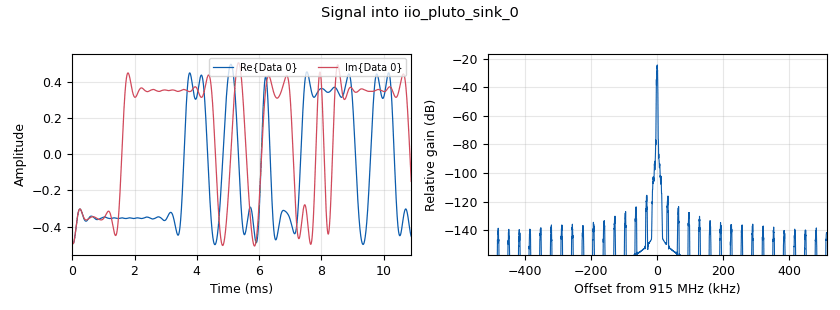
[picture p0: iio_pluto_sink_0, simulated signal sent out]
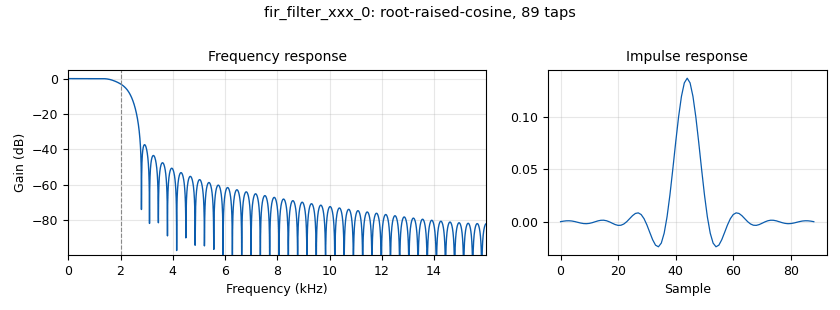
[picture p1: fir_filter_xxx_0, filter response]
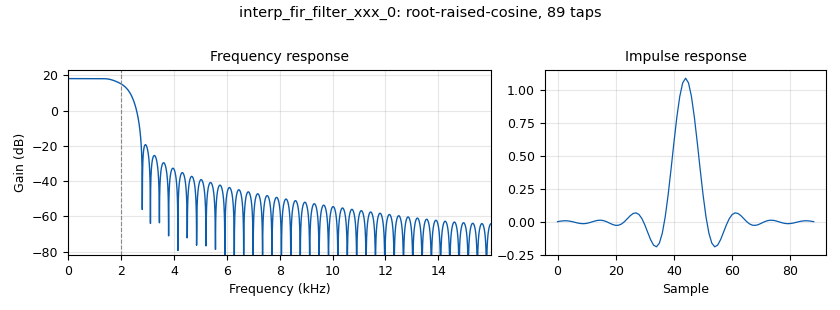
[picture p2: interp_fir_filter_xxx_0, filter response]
options:
  parameters:
    author: ECE 448
    description: 'L15 Lab: the L15 mPSK text link through one PlutoSDR at 915 MHz, from its TX port to its RX port through a cable and an inline 30 dB attenuator. Never connect an antenna, and never set TX attenuation below 30 dB.'
    generate_options: qt_gui
    id: L15_psk_pluto
    output_language: python
    title: L15 - mPSK Link on a PlutoSDR
  states: {}

blocks:
- name: M
  id: variable
  parameters:
    comment: 2, 4, or 8; run again after changing it
    value: '4'
  states: {}
- name: alpha
  id: variable
  parameters:
    value: '0.35'
  states: {}
- name: const
  id: variable
  parameters:
    value: digital.constellation_calcdist(pts, list(range(M)), M, 1).base()
  states: {}
- name: costas_bw
  id: variable
  parameters:
    value: '0.02'
  states: {}
- name: diff
  id: variable_qtgui_chooser
  parameters:
    gui_hint: 0,2,1,1
    label: Differential coding
    label0: 'On'
    label1: 'Off'
    num_opts: '2'
    option0: '1'
    option1: '0'
    orient: Qt.QHBoxLayout
    type: int
    value: '1'
    widget: radio_buttons
  states: {}
- name: fc
  id: variable
  parameters:
    value: 915e6
  states: {}
- name: gray
  id: variable
  parameters:
    value: '[i ^ (i >> 1) for i in range(M)]'
  states: {}
- name: hdr
  id: variable
  parameters:
    value: digital.header_format_default(digital.packet_utils.default_access_code, 0)
  states: {}
- name: k
  id: variable
  parameters:
    value: int(math.log2(M))
  states: {}
- name: msg
  id: variable
  parameters:
    value: '''USAFA ECE 448: ASCII over mPSK.'''
  states: {}
- name: pts
  id: variable
  parameters:
    value: '[cmath.exp(1j*((0 if M == 2 else math.pi/M) + 2*math.pi*i/M)) for i in range(M)]'
  states: {}
- name: radio_rate
  id: variable
  parameters:
    value: samp_rate*32
  states: {}
- name: rx_gain
  id: variable_qtgui_range
  parameters:
    gui_hint: 0,1,1,1
    label: Pluto RX gain (dB)
    start: '0'
    step: '1'
    stop: '70'
    value: '40'
  states: {}
- name: rx_label
  id: variable_qtgui_label
  parameters:
    formatter: 'lambda x: '':  '' + x'
    gui_hint: 3,0,1,3
    label: Received
    type: string
    value: rx_text
  states: {}
- name: rx_stats
  id: variable_function_probe
  parameters:
    block_id: epy_block_0
    function_name: stats
    poll_rate: '2'
    value: ''''''
  states: {}
- name: rx_taps
  id: variable
  parameters:
    value: firdes.root_raised_cosine(1.0, samp_rate, samp_rate/sps, alpha, 11*sps)
  states: {}
- name: rx_text
  id: variable_function_probe
  parameters:
    block_id: epy_block_0
    function_name: last_line
    poll_rate: '4'
    value: '''(waiting for a packet)'''
  states: {}
- name: samp_rate
  id: variable
  parameters:
    value: '32000'
  states: {}
- name: sps
  id: variable
  parameters:
    value: '8'
  states: {}
- name: stats_label
  id: variable_qtgui_label
  parameters:
    formatter: 'lambda x: '':  '' + x'
    gui_hint: 4,0,1,3
    label: Lines
    type: string
    value: rx_stats
  states: {}
- name: tx_atten
  id: variable_qtgui_range
  parameters:
    gui_hint: 0,0,1,1
    label: Pluto TX attenuation (dB)
    start: '30'
    step: '1'
    stop: '89'
    value: '60'
  states: {}
- name: tx_taps
  id: variable
  parameters:
    value: firdes.root_raised_cosine(sps, samp_rate, samp_rate/sps, alpha, 11*sps)
  states: {}
- name: ungray
  id: variable
  parameters:
    value: '[gray.index(b) for b in range(M)]'
  states: {}
- name: analog_agc3_xx_0
  id: analog_agc3_xx
  parameters:
    attack_rate: '1e-3'
    comment: Holds the received level near amplitude 1 at any attenuation
    decay_rate: '1e-4'
    gain: '1.0'
    iir_update_decim: '1'
    max_gain: '65536'
    reference: '1.0'
    type: complex
  states: {}
- name: blocks_keep_one_in_n_0
  id: blocks_keep_one_in_n
  parameters:
    n: '40'
    type: float
  states: {}
- name: blocks_multiply_const_vxx_0
  id: blocks_multiply_const_vxx
  parameters:
    comment: rad/symbol to Hz
    const: samp_rate/sps/(2*math.pi)
    type: float
  states: {}
- name: blocks_multiply_const_vxx_1
  id: blocks_multiply_const_vxx
  parameters:
    comment: Keeps the peaks below full scale
    const: '0.5'
    type: complex
  states: {}
- name: blocks_repack_bits_bb_0
  id: blocks_repack_bits_bb
  parameters:
    endianness: gr.GR_MSB_FIRST
    k: '8'
    l: k
  states: {}
- name: blocks_repack_bits_bb_1
  id: blocks_repack_bits_bb
  parameters:
    endianness: gr.GR_MSB_FIRST
    k: k
    l: '1'
  states: {}
- name: blocks_repack_bits_bb_2
  id: blocks_repack_bits_bb
  parameters:
    align_output: 'True'
    endianness: gr.GR_MSB_FIRST
    k: '1'
    l: '8'
    len_tag_key: '"packet_len"'
  states: {}
- name: blocks_selector_0
  id: blocks_selector
  parameters:
    enabled: 'True'
    input_index: diff
    num_inputs: '2'
    num_outputs: '1'
    output_index: '0'
    type: byte
  states: {}
- name: blocks_selector_1
  id: blocks_selector
  parameters:
    enabled: 'True'
    input_index: diff
    num_inputs: '2'
    num_outputs: '1'
    output_index: '0'
    type: byte
  states: {}
- name: blocks_stream_to_tagged_stream_0
  id: blocks_stream_to_tagged_stream
  parameters:
    len_tag_key: '"packet_len"'
    packet_len: len(msg) + 1
    type: byte
  states: {}
- name: blocks_tagged_stream_mux_0
  id: blocks_tagged_stream_mux
  parameters:
    lengthtagname: '"packet_len"'
    ninputs: '2'
    type: byte
  states: {}
- name: blocks_vector_source_x_0
  id: blocks_vector_source_x
  parameters:
    repeat: 'True'
    type: byte
    vector: list(msg.encode()) + [10]
  states: {}
- name: digital_chunks_to_symbols_xx_0
  id: digital_chunks_to_symbols_xx
  parameters:
    dimension: '1'
    in_type: byte
    out_type: complex
    symbol_table: pts
  states: {}
- name: digital_constellation_decoder_cb_0
  id: digital_constellation_decoder_cb
  parameters:
    constellation: const
  states: {}
- name: digital_correlate_access_code_xx_ts_0
  id: digital_correlate_access_code_xx_ts
  parameters:
    access_code: digital.packet_utils.default_access_code
    tagname: '"packet_len"'
    threshold: '2'
    type: byte
  states: {}
- name: digital_costas_loop_cc_0
  id: digital_costas_loop_cc
  parameters:
    order: M
    w: costas_bw
  states: {}
- name: digital_diff_decoder_bb_0
  id: digital_diff_decoder_bb
  parameters:
    coding: digital.DIFF_DIFFERENTIAL
    modulus: M
  states: {}
- name: digital_diff_encoder_bb_0
  id: digital_diff_encoder_bb
  parameters:
    coding: digital.DIFF_DIFFERENTIAL
    modulus: M
  states: {}
- name: digital_map_bb_0
  id: digital_map_bb
  parameters:
    map: ungray
  states: {}
- name: digital_map_bb_1
  id: digital_map_bb
  parameters:
    map: gray
  states: {}
- name: digital_protocol_formatter_bb_0
  id: digital_protocol_formatter_bb
  parameters:
    format: hdr
    len_tag_key: '"packet_len"'
  states: {}
- name: digital_symbol_sync_xx_0
  id: digital_symbol_sync_xx
  parameters:
    damping: '1.0'
    loop_bw: '0.045'
    max_dev: '1.5'
    osps: '1'
    resamp_type: digital.IR_MMSE_8TAP
    sps: sps
    ted_gain: '1.0'
    ted_type: digital.TED_GARDNER
    type: cc
  states: {}
- name: epy_block_0
  id: epy_block
  parameters:
    _source_code: |
      """Text Sink: shows each received packet as a line of text, counts the lines
      that match the transmitted message, and counts the bit errors in every line
      of the right length (the BER). The counts restart whenever a slider moves,
      because GRC sets `settings` each time one of the settings it names changes.
      Function Probes read last_line() and stats() for the QT GUI Labels."""

      import time

      import numpy as np
      import pmt
      from gnuradio import gr


      class blk(gr.sync_block):
          def __init__(self, expected='', settings=None):
              gr.sync_block.__init__(self, name='Text Sink', in_sig=[np.uint8], out_sig=None)
              self.expected = expected
              self.ref = np.frombuffer((expected + '\n').encode(), dtype=np.uint8)
              self.key = pmt.intern('packet_len')
              self.buf = []
              self.line = '(waiting for a packet)'
              self.settings = settings

          @property
          def settings(self):
              return self._settings

          @settings.setter
          def settings(self, value):
              self._settings = value
              self.good = 0
              self.total = 0
              self.errors = 0
              self.bits = 0
              self.t0 = time.monotonic()

          def work(self, input_items, output_items):
              data = input_items[0]
              start = self.nitems_read(0)
              # Each packet starts with a packet_len tag, so a corrupted newline
              # cannot run two packets together.
              marks = {t.offset - start for t in self.get_tags_in_window(0, 0, len(data), self.key)}
              for i, b in enumerate(data):
                  if i in marks and self.buf:
                      self.finish()
                  self.buf.append(int(b))
              return len(data)

          def finish(self):
              rx = np.array(self.buf, dtype=np.uint8)
              text = ''.join(chr(b) if 32 <= b < 127 or b == 10 else '?' for b in rx)
              self.line = text[:-1] if text.endswith('\n') else text
              self.total += 1
              self.good += text == self.expected + '\n'
              if len(rx) == len(self.ref):
                  self.errors += int(np.unpackbits(rx ^ self.ref).sum())
                  self.bits += 8 * len(rx)
              self.buf = []

          def last_line(self):
              return self.line

          def stats(self):
              ber = f'{self.errors / self.bits:.1e}' if self.bits else '-'
              return (f'{self.good} correct of {self.total} received in {time.monotonic() - self.t0:.0f} s;  '
                      f'BER {ber} ({self.errors} errors in {self.bits} bits)')
    expected: msg
    settings: (tx_atten, rx_gain, diff)
  states: {}
- name: fir_filter_xxx_0
  id: fir_filter_xxx
  parameters:
    decim: '1'
    taps: rx_taps
    type: ccf
  states: {}
- name: iio_pluto_sink_0
  id: iio_pluto_sink
  parameters:
    attenuation1: tx_atten
    bandwidth: '200000'
    buffer_size: '32768'
    cyclic: 'False'
    filter: '""'
    filter_source: '''Auto'''
    frequency: int(fc)
    len_tag_key: '""'
    samplerate: int(radio_rate)
    type: fc32
    uri: '"ip:192.168.2.1"'
  states: {}
- name: iio_pluto_source_0
  id: iio_pluto_source
  parameters:
    bandwidth: '200000'
    bbdc: 'True'
    buffer_size: '32768'
    filter: '""'
    filter_source: '''Auto'''
    frequency: int(fc)
    gain1: '''manual'''
    len_tag_key: '""'
    manual_gain1: rx_gain
    quadrature: 'True'
    rfdc: 'True'
    samplerate: int(radio_rate)
    type: fc32
    uri: '"ip:192.168.2.1"'
  states: {}
- name: import_0
  id: import
  parameters:
    imports: import math, cmath
  states: {}
- name: interp_fir_filter_xxx_0
  id: interp_fir_filter_xxx
  parameters:
    interp: sps
    taps: tx_taps
    type: ccf
  states: {}
- name: qtgui_const_sink_x_0
  id: qtgui_const_sink_x
  parameters:
    grid: 'True'
    gui_hint: 2,0,1,1
    legend: 'False'
    name: '"Symbol Sync output: before carrier recovery"'
    size: '1024'
    type: complex
  states: {}
- name: qtgui_const_sink_x_1
  id: qtgui_const_sink_x
  parameters:
    grid: 'True'
    gui_hint: 2,1,1,1
    legend: 'False'
    name: '"Costas Loop output: after carrier recovery"'
    size: '1024'
    type: complex
  states: {}
- name: qtgui_time_sink_x_0
  id: qtgui_time_sink_x
  parameters:
    entags: 'False'
    grid: 'True'
    gui_hint: 2,2,1,1
    legend: 'False'
    name: '"Costas Loop frequency estimate"'
    size: '500'
    srate: samp_rate/sps/40
    type: float
    ylabel: '"Hz"'
    ymax: '500'
    ymin: '-500'
  states: {}
- name: rational_resampler_xxx_0
  id: rational_resampler_xxx
  parameters:
    decim: '1'
    interp: '32'
    type: ccc
  states: {}
- name: rational_resampler_xxx_1
  id: rational_resampler_xxx
  parameters:
    decim: '32'
    interp: '1'
    type: ccc
  states: {}

connections:
- [analog_agc3_xx_0, '0', fir_filter_xxx_0, '0']
- [blocks_keep_one_in_n_0, '0', qtgui_time_sink_x_0, '0']
- [blocks_multiply_const_vxx_0, '0', blocks_keep_one_in_n_0, '0']
- [blocks_multiply_const_vxx_1, '0', rational_resampler_xxx_0, '0']
- [blocks_repack_bits_bb_0, '0', digital_map_bb_0, '0']
- [blocks_repack_bits_bb_1, '0', digital_correlate_access_code_xx_ts_0, '0']
- [blocks_repack_bits_bb_2, '0', epy_block_0, '0']
- [blocks_selector_0, '0', digital_chunks_to_symbols_xx_0, '0']
- [blocks_selector_1, '0', digital_map_bb_1, '0']
- [blocks_stream_to_tagged_stream_0, '0', blocks_tagged_stream_mux_0, '1']
- [blocks_stream_to_tagged_stream_0, '0', digital_protocol_formatter_bb_0, '0']
- [blocks_tagged_stream_mux_0, '0', blocks_repack_bits_bb_0, '0']
- [blocks_vector_source_x_0, '0', blocks_stream_to_tagged_stream_0, '0']
- [digital_chunks_to_symbols_xx_0, '0', interp_fir_filter_xxx_0, '0']
- [digital_constellation_decoder_cb_0, '0', blocks_selector_1, '0']
- [digital_constellation_decoder_cb_0, '0', digital_diff_decoder_bb_0, '0']
- [digital_correlate_access_code_xx_ts_0, '0', blocks_repack_bits_bb_2, '0']
- [digital_costas_loop_cc_0, '0', digital_constellation_decoder_cb_0, '0']
- [digital_costas_loop_cc_0, '0', qtgui_const_sink_x_1, '0']
- [digital_costas_loop_cc_0, '1', blocks_multiply_const_vxx_0, '0']
- [digital_diff_decoder_bb_0, '0', blocks_selector_1, '1']
- [digital_diff_encoder_bb_0, '0', blocks_selector_0, '1']
- [digital_map_bb_0, '0', blocks_selector_0, '0']
- [digital_map_bb_0, '0', digital_diff_encoder_bb_0, '0']
- [digital_map_bb_1, '0', blocks_repack_bits_bb_1, '0']
- [digital_protocol_formatter_bb_0, '0', blocks_tagged_stream_mux_0, '0']
- [digital_symbol_sync_xx_0, '0', digital_costas_loop_cc_0, '0']
- [digital_symbol_sync_xx_0, '0', qtgui_const_sink_x_0, '0']
- [fir_filter_xxx_0, '0', digital_symbol_sync_xx_0, '0']
- [iio_pluto_source_0, '0', rational_resampler_xxx_1, '0']
- [interp_fir_filter_xxx_0, '0', blocks_multiply_const_vxx_1, '0']
- [rational_resampler_xxx_0, '0', iio_pluto_sink_0, '0']
- [rational_resampler_xxx_1, '0', analog_agc3_xx_0, '0']

metadata:
  file_format: 1
  grc_version: 3.10.9.2
